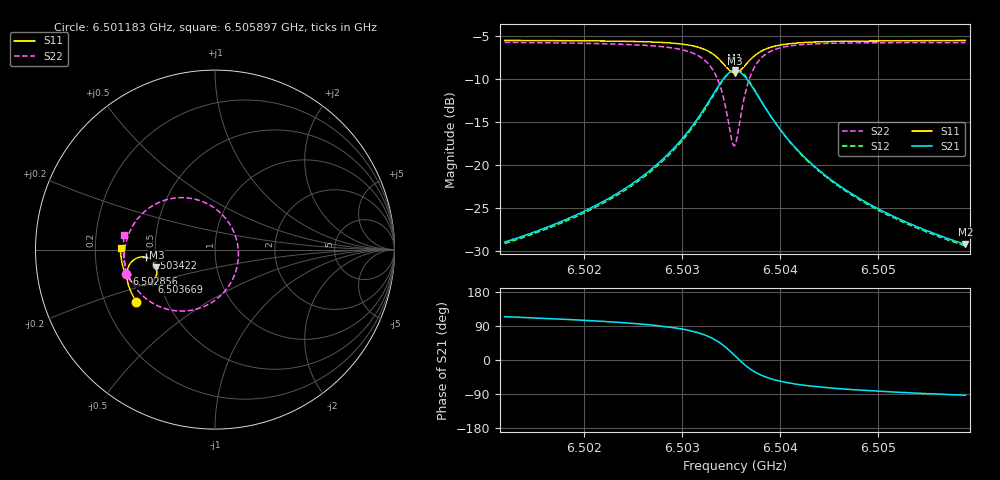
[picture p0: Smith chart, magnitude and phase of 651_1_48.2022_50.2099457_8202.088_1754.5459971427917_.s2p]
#  HZ  S  RI  R  50.00
! Rohde & Schwarz Vector Network Analyzer
! Rohde-Schwarz,ZNB20-2Port,1311601062101988,3.16
! Created: UTC 3/20/2024, 12:05:13 PM
! freq[Hz]  re:S11  im:S11  re:S21  im:S21  re:S12  im:S12  re:S22  im:S22
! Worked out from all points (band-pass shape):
!   401 points, 6.501183 GHz to 6.505897 GHz, reference 50 ohm
!   highest |S21| = -9.04 dB at 6.50354 GHz (marker M1); lowest = -29.2 dB at 6.505897 GHz (marker M2)
!   |S21| within 3 dB of the highest: 6.503305 GHz to 6.503776 GHz (471.1 kHz wide, 0.00724 % of centre)
!   lowest |S11| = -9.3 dB at 6.50354 GHz (marker M3), VSWR 2.04, Z = 25 - j5.53 ohm
!   |S11| at or under -10 dB: nowhere
!   |S22| runs from -17.8 to -5.8 dB; largest |S21 - S12| = 0.013
!   S11 on the Smith chart (normalised r, x): 6.501183 GHz: 0.34, -0.27; 6.502856 GHz: 0.33, -0.12; 6.503422 GHz: 0.44, -0.05; 6.503669 GHz: 0.46, -0.19; 6.505897 GHz: 0.31, +0.01
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6.5011826e9  -0.4375 -0.2932  -0.0147 0.0326  -0.0129 0.0325  -0.4955 -0.1346
6.5019723e9  -0.4697 -0.2327  -0.0137 0.0512  -0.0112 0.0507  -0.5049 -0.0468
6.5024083e9  -0.484 -0.1923  -0.0104 0.0718  -0.00708 0.0706  -0.4996 0.0191
6.5027619e9  -0.4912 -0.151  -0.000346 0.103  0.00365 0.1004  -0.4771 0.0952
6.5028562e9  -0.4915 -0.1377  0.00545 0.1156  0.00956 0.1125  -0.4643 0.122
6.5030565e9  -0.4855 -0.1031  0.0306 0.1522  0.0346 0.1475  -0.4124 0.193
6.503198e9  -0.4689 -0.0725  0.072 0.1874  0.0752 0.181  -0.3321 0.2531
6.5033276e9  -0.4313 -0.0456  0.1523 0.2136  0.1535 0.2069  -0.1862 0.2896
6.5034219e9  -0.3828 -0.0435  0.2474 0.1961  0.2479 0.1908  -0.0216 0.2441
6.5035044e9  -0.3381 -0.0745  0.3286 0.1182  0.3316 0.1132  0.1085 0.0903
6.5035397e9  -0.3269 -0.0978  0.3469 0.0675  0.3511 0.061  0.1301 -0.00543
6.5035633e9  -0.3238 -0.1148  0.3503 0.0311  0.3548 0.0235  0.1274 -0.0719
6.5035987e9  -0.3261 -0.14  0.3424 -0.021  0.3463 -0.0311  0.0986 -0.165
6.5036694e9  -0.3494 -0.179  0.2934 -0.1006  0.2935 -0.1134  -0.0167 -0.2939
6.5037637e9  -0.3921 -0.1996  0.2115 -0.1454  0.2062 -0.1567  -0.1836 -0.3425
6.5038344e9  -0.4192 -0.1995  0.1619 -0.1505  0.1547 -0.1594  -0.2766 -0.3293
6.5039169e9  -0.4431 -0.1923  0.1197 -0.1442  0.1119 -0.1505  -0.3507 -0.2965
6.5040819e9  -0.4729 -0.171  0.07 -0.1221  0.063 -0.125  -0.4316 -0.2268
6.5043294e9  -0.4959 -0.1395  0.0359 -0.0941  0.0305 -0.0949  -0.4808 -0.1469
6.5046947e9  -0.512 -0.1  0.0155 -0.0686  0.0117 -0.0682  -0.5048 -0.0681
6.505119e9  -0.521 -0.0597  0.00555 -0.0515  0.00293 -0.0507  -0.5112 -0.00433
6.5058968e9  -0.5263 0.00718  -0.0019 -0.0346  -0.00339 -0.0337  -0.5047 0.0818
